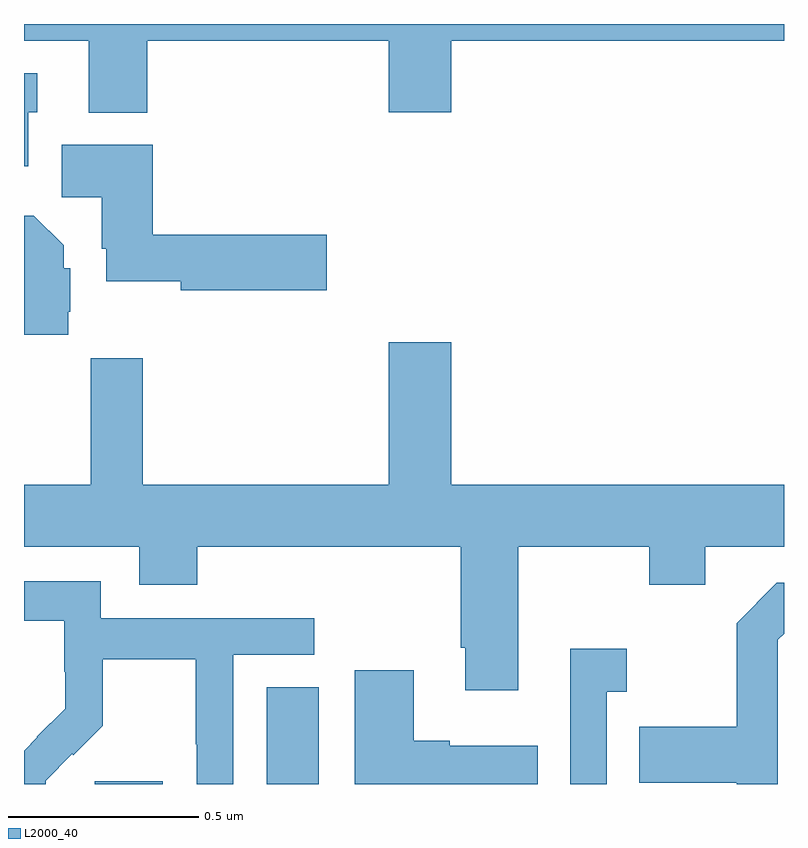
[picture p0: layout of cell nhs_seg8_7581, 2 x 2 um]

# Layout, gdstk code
import gdstk
lib = gdstk.Library(unit=1e-6, precision=1e-09)
def R(c, l, rs):  # rectangles x0, y0, x1, y1
    for r in rs: c.add(gdstk.rectangle(r[:2], r[2:], *l))
def P(c, l, *ps):  # polygons
    for p in ps: c.add(gdstk.Polygon(p, *l))
L2000_40 = (2000, 40)

nhs_seg8_7581 = lib.new_cell('nhs_seg8_7581')
R(nhs_seg8_7581, L2000_40, [(212.186,1091.9,212.365,1091.907), (212.639,1091.9,212.776,1092.155)])
P(nhs_seg8_7581, L2000_40, [(212.324,1093.856),(212.96,1093.856),(212.96,1093.668),(213.124,1093.668),(213.124,1093.856),(214,1093.856),(214,1093.9),(212,1093.9),(212,1093.856),(212.171,1093.856),(212.171,1093.667),(212.324,1093.667)],
  [(212.011,1093.668),(212.035,1093.668),(212.035,1093.771),(212,1093.771),(212,1093.526),(212.011,1093.526)],
  [(212.797,1093.346),(212.339,1093.346),(212.339,1093.582),(212.099,1093.582),(212.099,1093.444),(212.204,1093.444),(212.204,1093.308),(212.216,1093.308),(212.216,1093.223),(212.412,1093.223),(212.412,1093.199),(212.797,1093.199)],
  [(212.117,1093.143),(212.122,1093.143),(212.122,1093.257),(212.104,1093.257),(212.104,1093.318),(212.026,1093.396),(212,1093.396),(212,1093.082),(212.117,1093.082)],
  [(213.301,1092.524),(213.646,1092.524),(213.646,1092.425),(213.793,1092.425),(213.793,1092.524),(214,1092.524),(214,1092.688),(213.124,1092.688),(213.124,1093.063),(212.96,1093.063),(212.96,1092.688),(212.312,1092.688),(212.312,1093.021),(212.176,1093.021),(212.176,1092.688),(212,1092.688),(212,1092.524),(212.303,1092.524),(212.303,1092.425),(212.456,1092.425),(212.456,1092.524),(213.149,1092.524),(213.149,1092.259),(213.161,1092.259),(213.161,1092.147),(213.301,1092.147)],
  [(212.057,1091.909),(212.127,1091.979),(212.13,1091.976),(212.207,1092.053),(212.207,1092.228),(212.452,1092.228),(212.452,1092.004),(212.454,1092.004),(212.454,1091.9),(212.55,1091.9),(212.55,1092.24),(212.764,1092.24),(212.764,1092.336),(212.202,1092.336),(212.202,1092.433),(212,1092.433),(212,1092.329),(212.106,1092.329),(212.106,1092.195),(212.108,1092.195),(212.108,1092.098),(212.034,1092.024),(212.035,1092.023),(212,1091.988),(212,1091.9),(212.057,1091.9)],
  [(213.984,1092.279),(214,1092.295),(214,1092.429),(213.981,1092.429),(213.876,1092.323),(213.876,1092.051),(213.619,1092.051),(213.619,1091.903),(213.876,1091.903),(213.876,1091.9),(213.984,1091.9)],
  [(213.534,1092.143),(213.586,1092.143),(213.586,1092.256),(213.438,1092.256),(213.438,1091.9),(213.534,1091.9)],
  [(213.352,1092.001),(213.121,1092.001),(213.121,1092.014),(213.025,1092.014),(213.025,1092.199),(212.87,1092.199),(212.87,1091.9),(213.352,1091.9)])

lib.write_gds('nhs_seg8_7581.gds')
